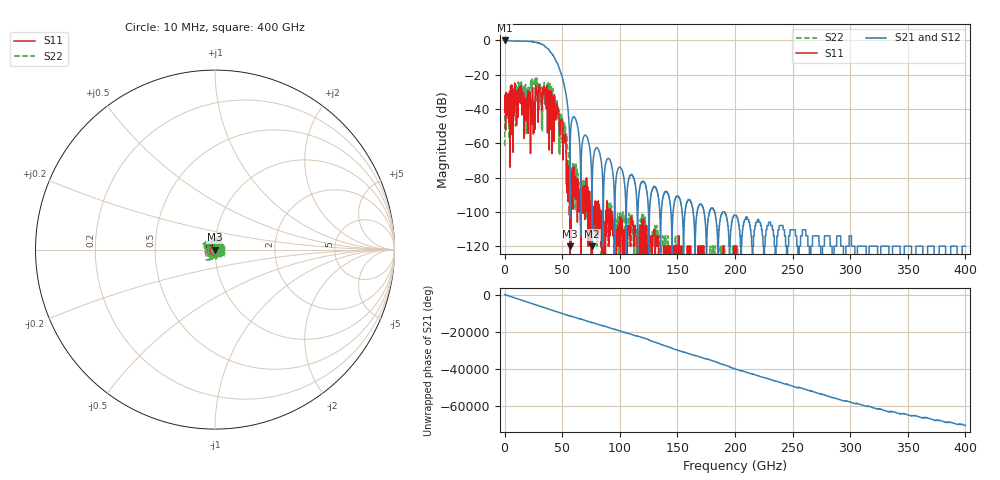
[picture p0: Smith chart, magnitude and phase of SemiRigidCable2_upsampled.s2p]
# MHz MA S R 50.0
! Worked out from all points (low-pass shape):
!   40000 points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, 10 MHz to 400 GHz, reference 50 ohm
!   highest |S21| = -0.01 dB at 10 MHz (marker M1); lowest = -120.0 dB at 75.84 GHz (marker M2)
!   |S21| within 3 dB of the highest: start of sweep to 34.51 GHz
!   lowest |S11| = -120.0 dB at 56.69 GHz (marker M3), VSWR 1.00, Z = 50 - j9.1e-05 ohm
!   |S11| at or under -10 dB: start of sweep to end of sweep
!   |S22| runs from - to -21.8 dB; largest |S21 - S12| = 0.023
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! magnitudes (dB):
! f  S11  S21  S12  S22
! 10 MHz  -42.0  0.0  0.0  -61.1
! 2.25 GHz  -31.4  -0.2  -0.2  -33.6
! 12.85 GHz  -28.4  -0.3  -0.4  -24.9
! 17.75 GHz  -37.2  -0.4  -0.4  -42.6
! 24.38 GHz  -29.5  -0.6  -0.6  -26.6
! 28.77 GHz  -32.0  -1.3  -1.3  -25.5
! 39.52 GHz  -32.6  -6.7  -6.8  -25.3
! 50.62 GHz  -57.1  -22.8  -22.9  -52.1
! 56.69 GHz  -120.0  -73.3  -73.3  -98.4
! 61.39 GHz  -80.1  -45.5  -45.5  -81.4
! 66.68 GHz  -97.7  -66.6  -66.6  -95.4
! 70.93 GHz  -81.7  -55.7  -55.7  -80.2
! 75.84 GHz  -  -120.0  -120.0  -
! 80.26 GHz  -99.2  -62.5  -62.5  -103.1
! 85.84 GHz  -120.0  -91.7  -91.7  -120.0
! 90.17 GHz  -106.0  -68.8  -68.8  -95.9
! 95.7 GHz  -  -99.2  -99.2  -
! 133.3 GHz  -120.0  -90.8  -91.1  -120.0
! 200 GHz  -120.0  -101.9  -101.9  -
! 266.7 GHz  -  -120.0  -120.0  -
! 333.3 GHz  -  -120.0  -120.0  -
! 400 GHz  -  -120.0  -120.0  -
